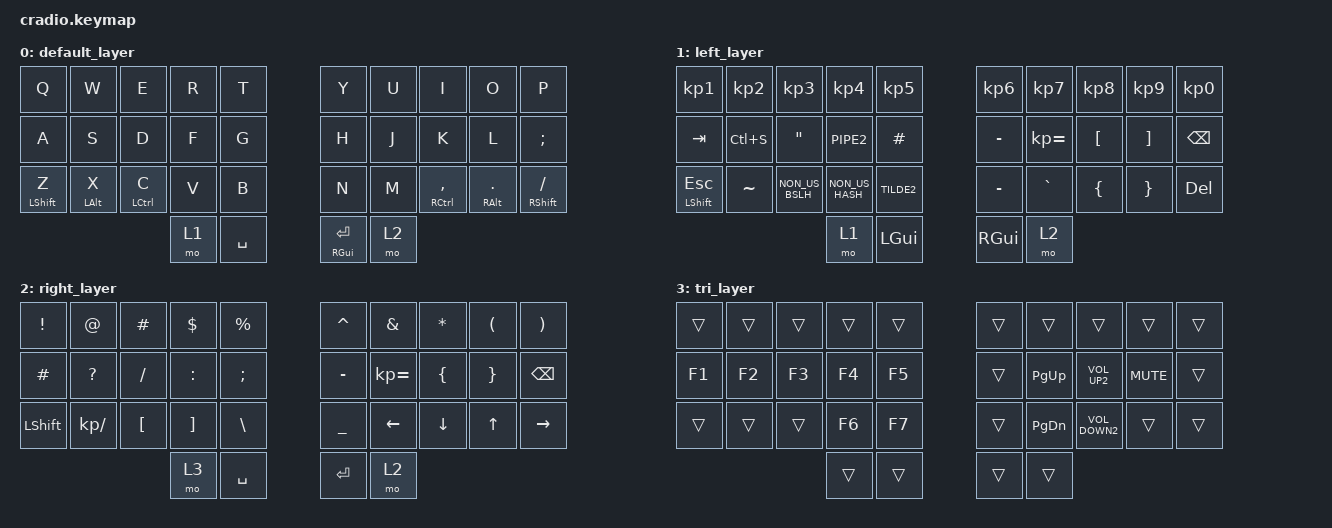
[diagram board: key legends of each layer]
/*
 * Copyright (c) 2020 The ZMK Contributors
 *
 * SPDX-License-Identifier: MIT
 */

#include <behaviors.dtsi>
#include <dt-bindings/zmk/keys.h>

&mt {
    //  flavor = "tap-preferred";
    // tapping_term_ms = <200>;
};

/ {
    combos {
        compatible = "zmk,combos";

        combo_esc {
            timeout-ms = <50>;
            key-positions = <0 1>;
            bindings = <&kp ESC>;
        };

        combo_tab {
            timeout-ms = <50>;
            key-positions = <10 11>;
            bindings = <&kp TAB>;
        };

        combo_ralt {
            timeout-ms = <50>;
            key-positions = <17 16>;
            bindings = <&kp RALT>;
        };

        combo_lalt {
            timeout-ms = <50>;
            key-positions = <11 12>;
            bindings = <&kp LALT>;
        };

        combo_lgui {
            timeout-ms = <50>;
            key-positions = <12 13>;
            bindings = <&kp LGUI>;
        };

        combo_rgui {
            timeout-ms = <50>;
            key-positions = <17 18>;
            bindings = <&kp RGUI>;
        };
    };

    keymap {
        compatible = "zmk,keymap";

        default_layer {
            bindings = <
       &kp Q           &kp W               &kp E   &kp R      &kp T         &kp Y   &kp U                    &kp I                 &kp O                  &kp P
       &kp A           &kp S               &kp D   &kp F      &kp G         &kp H   &kp J                    &kp K                 &kp L          &kp SEMICOLON
 &mt LSHFT Z  &mt LEFT_ALT X  &mt LEFT_CONTROL C   &kp V      &kp B         &kp N   &kp M  &mt RIGHT_CONTROL COMMA  &mt RIGHT_ALT PERIOD  &mt RIGHT_SHIFT SLASH
                                                   &mo 1  &kp SPACE  &mt RGUI RET   &mo 2
            >;
        };

        left_layer {
            bindings = <
    &kp KP_NUMBER_1  &kp KP_NUMBER_2  &kp KP_NUMBER_3  &kp KP_NUMBER_4  &kp KP_NUMBER_5  &kp KP_NUMBER_6  &kp KP_NUMBER_7  &kp KP_NUMBER_8  &kp KP_NUMBER_9  &kp KP_NUMBER_0
            &kp TAB        &kp LC(S)          &kp DQT        &kp PIPE2         &kp HASH        &kp MINUS     &kp KP_EQUAL         &kp LBKT         &kp RBKT    &kp BACKSPACE
 &mt LEFT_SHIFT ESC        &kp TILDE  &kp NON_US_BSLH  &kp NON_US_HASH       &kp TILDE2        &kp MINUS        &kp GRAVE   &kp LEFT_BRACE  &kp RIGHT_BRACE          &kp DEL
                                                                 &mo 1         &kp LGUI         &kp RGUI            &mo 2
            >;
        };

        right_layer {
            bindings = <
 &kp EXCLAMATION   &kp AT_SIGN  &kp HASH   &kp DLLR    &kp PERCENT  &kp CARET      &kp AMPS  &kp STAR  &kp LEFT_PARENTHESIS  &kp RIGHT_PARENTHESIS
        &kp HASH     &kp QMARK  &kp FSLH  &kp COLON  &kp SEMICOLON  &kp MINUS  &kp KP_EQUAL  &kp LBRC              &kp RBRC          &kp BACKSPACE
       &kp LSHFT  &kp KP_SLASH  &kp LBKT   &kp RBKT       &kp BSLH  &kp UNDER      &kp LEFT  &kp DOWN                &kp UP              &kp RIGHT
                                              &mo 3      &kp SPACE  &kp ENTER         &mo 2
            >;
        };

        tri_layer {
            bindings = <
 &trans  &trans  &trans  &trans  &trans  &trans     &trans              &trans      &trans  &trans
 &kp F1  &kp F2  &kp F3  &kp F4  &kp F5  &trans  &kp PG_UP    &kp K_VOLUME_UP2  &kp K_MUTE  &trans
 &trans  &trans  &trans  &kp F6  &kp F7  &trans  &kp PG_DN  &kp K_VOLUME_DOWN2      &trans  &trans
                         &trans  &trans  &trans     &trans
            >;
        };
    };
};
